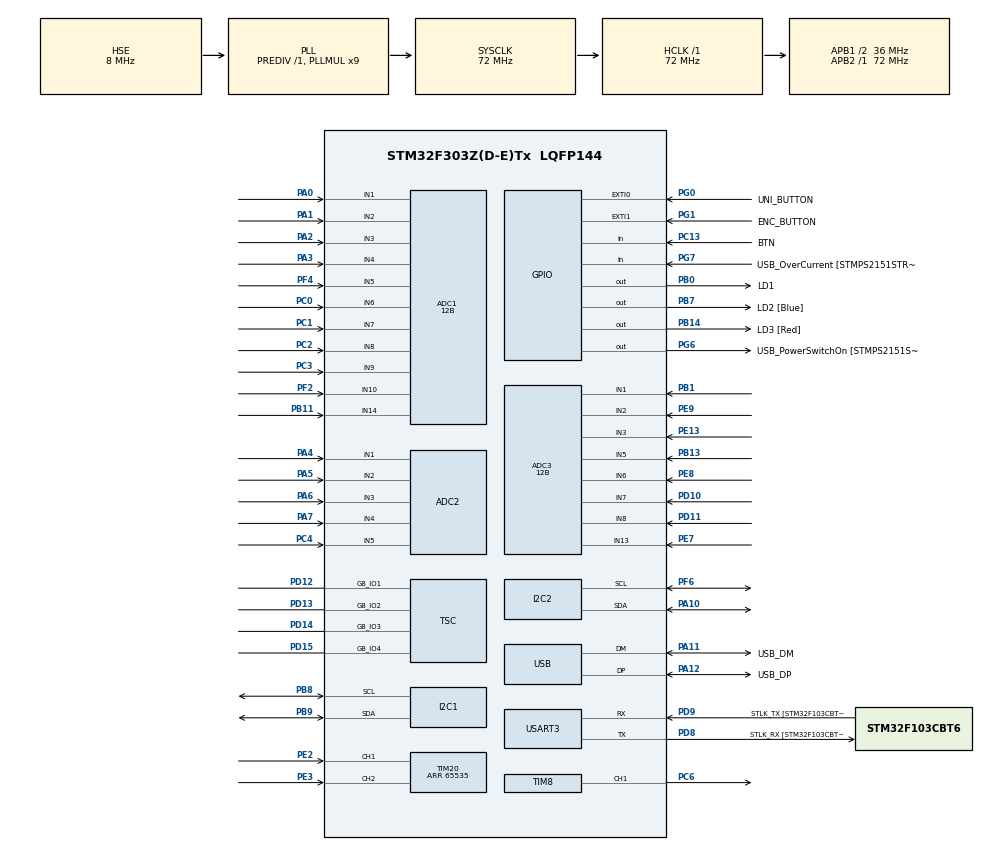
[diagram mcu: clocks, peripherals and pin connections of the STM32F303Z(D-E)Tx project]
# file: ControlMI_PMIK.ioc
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ADC1.Channel-10\#ChannelRegularConversion=ADC_CHANNEL_7
ADC1.Channel-11\#ChannelRegularConversion=ADC_CHANNEL_8
ADC1.Channel-12\#ChannelRegularConversion=ADC_CHANNEL_9
ADC1.Channel-13\#ChannelRegularConversion=ADC_CHANNEL_10
ADC1.Channel-14\#ChannelRegularConversion=ADC_CHANNEL_14
ADC1.Channel-4\#ChannelRegularConversion=ADC_CHANNEL_1
ADC1.Channel-5\#ChannelRegularConversion=ADC_CHANNEL_2
ADC1.Channel-6\#ChannelRegularConversion=ADC_CHANNEL_3
ADC1.Channel-7\#ChannelRegularConversion=ADC_CHANNEL_4
ADC1.Channel-8\#ChannelRegularConversion=ADC_CHANNEL_5
ADC1.Channel-9\#ChannelRegularConversion=ADC_CHANNEL_6
ADC1.ClockPrescaler=ADC_CLOCK_ASYNC_DIV1
ADC1.ContinuousConvMode=DISABLE
ADC1.DMAContinuousRequests=ENABLE
ADC1.DataAlign=ADC_DATAALIGN_RIGHT
ADC1.DiscontinuousConvMode=DISABLE
ADC1.EOCSelection=ADC_EOC_SINGLE_CONV
ADC1.EnableAnalogWatchDog1=false
ADC1.EnableAnalogWatchDog2=false
ADC1.EnableAnalogWatchDog3=false
ADC1.EnableInjectedConversion=ENABLE
ADC1.EnableRegularConversion=ENABLE
ADC1.ExternalTrigConv=ADC_SOFTWARE_START
ADC1.ExternalTrigConvEdge=ADC_EXTERNALTRIGCONVEDGE_NONE
ADC1.InjNumberOfConversion=0
ADC1.LowPowerAutoWait=DISABLE
ADC1.NbrOfConversion=11
ADC1.NbrOfConversionFlag=1
ADC1.Offset-10\#ChannelRegularConversion=0
ADC1.Offset-11\#ChannelRegularConversion=0
ADC1.Offset-12\#ChannelRegularConversion=0
ADC1.Offset-13\#ChannelRegularConversion=0
ADC1.Offset-14\#ChannelRegularConversion=0
ADC1.Offset-4\#ChannelRegularConversion=0
ADC1.Offset-5\#ChannelRegularConversion=0
ADC1.Offset-6\#ChannelRegularConversion=0
ADC1.Offset-7\#ChannelRegularConversion=0
ADC1.Offset-8\#ChannelRegularConversion=0
ADC1.Offset-9\#ChannelRegularConversion=0
ADC1.OffsetNumber-10\#ChannelRegularConversion=ADC_OFFSET_NONE
ADC1.OffsetNumber-11\#ChannelRegularConversion=ADC_OFFSET_NONE
ADC1.OffsetNumber-12\#ChannelRegularConversion=ADC_OFFSET_NONE
ADC1.OffsetNumber-13\#ChannelRegularConversion=ADC_OFFSET_NONE
ADC1.OffsetNumber-14\#ChannelRegularConversion=ADC_OFFSET_NONE
ADC1.OffsetNumber-4\#ChannelRegularConversion=ADC_OFFSET_NONE
ADC1.OffsetNumber-5\#ChannelRegularConversion=ADC_OFFSET_NONE
ADC1.OffsetNumber-6\#ChannelRegularConversion=ADC_OFFSET_NONE
ADC1.OffsetNumber-7\#ChannelRegularConversion=ADC_OFFSET_NONE
ADC1.OffsetNumber-8\#ChannelRegularConversion=ADC_OFFSET_NONE
ADC1.OffsetNumber-9\#ChannelRegularConversion=ADC_OFFSET_NONE
ADC1.Overrun=ADC_OVR_DATA_OVERWRITTEN
ADC1.Rank-10\#ChannelRegularConversion=7
ADC1.Rank-11\#ChannelRegularConversion=8
ADC1.Rank-12\#ChannelRegularConversion=9
ADC1.Rank-13\#ChannelRegularConversion=10
ADC1.Rank-14\#ChannelRegularConversion=11
ADC1.Rank-4\#ChannelRegularConversion=1
ADC1.Rank-5\#ChannelRegularConversion=2
ADC1.Rank-6\#ChannelRegularConversion=3
ADC1.Rank-7\#ChannelRegularConversion=4
ADC1.Rank-8\#ChannelRegularConversion=5
ADC1.Rank-9\#ChannelRegularConversion=6
ADC1.Resolution=ADC_RESOLUTION_12B
ADC1.SamplingTime-10\#ChannelRegularConversion=ADC_SAMPLETIME_601CYCLES_5
ADC1.SamplingTime-11\#ChannelRegularConversion=ADC_SAMPLETIME_601CYCLES_5
ADC1.SamplingTime-12\#ChannelRegularConversion=ADC_SAMPLETIME_601CYCLES_5
ADC1.SamplingTime-13\#ChannelRegularConversion=ADC_SAMPLETIME_601CYCLES_5
ADC1.SamplingTime-14\#ChannelRegularConversion=ADC_SAMPLETIME_601CYCLES_5
ADC1.SamplingTime-4\#ChannelRegularConversion=ADC_SAMPLETIME_601CYCLES_5
ADC1.SamplingTime-5\#ChannelRegularConversion=ADC_SAMPLETIME_601CYCLES_5
ADC1.SamplingTime-6\#ChannelRegularConversion=ADC_SAMPLETIME_601CYCLES_5
ADC1.SamplingTime-7\#ChannelRegularConversion=ADC_SAMPLETIME_601CYCLES_5
ADC1.SamplingTime-8\#ChannelRegularConversion=ADC_SAMPLETIME_601CYCLES_5
ADC1.SamplingTime-9\#ChannelRegularConversion=ADC_SAMPLETIME_601CYCLES_5
ADC1.ScanConvMode=ADC_SCAN_ENABLE
ADC1.master=1
ADC2.Channel-10\#ChannelRegularConversion=ADC_CHANNEL_5
ADC2.Channel-6\#ChannelRegularConversion=ADC_CHANNEL_1
ADC2.Channel-7\#ChannelRegularConversion=ADC_CHANNEL_2
ADC2.Channel-8\#ChannelRegularConversion=ADC_CHANNEL_3
ADC2.Channel-9\#ChannelRegularConversion=ADC_CHANNEL_4
ADC2.DMAContinuousRequests=ENABLE
ADC2.NbrOfConversion=5
ADC2.NbrOfConversionFlag=1
ADC2.Offset-10\#ChannelRegularConversion=0
ADC2.Offset-6\#ChannelRegularConversion=0
ADC2.Offset-7\#ChannelRegularConversion=0
ADC2.Offset-8\#ChannelRegularConversion=0
ADC2.Offset-9\#ChannelRegularConversion=0
ADC2.OffsetNumber-10\#ChannelRegularConversion=ADC_OFFSET_NONE
ADC2.OffsetNumber-6\#ChannelRegularConversion=ADC_OFFSET_NONE
ADC2.OffsetNumber-7\#ChannelRegularConversion=ADC_OFFSET_NONE
ADC2.OffsetNumber-8\#ChannelRegularConversion=ADC_OFFSET_NONE
ADC2.OffsetNumber-9\#ChannelRegularConversion=ADC_OFFSET_NONE
ADC2.Rank-10\#ChannelRegularConversion=5
ADC2.Rank-6\#ChannelRegularConversion=1
ADC2.Rank-7\#ChannelRegularConversion=2
ADC2.Rank-8\#ChannelRegularConversion=3
ADC2.Rank-9\#ChannelRegularConversion=4
ADC2.SamplingTime-10\#ChannelRegularConversion=ADC_SAMPLETIME_601CYCLES_5
ADC2.SamplingTime-6\#ChannelRegularConversion=ADC_SAMPLETIME_601CYCLES_5
ADC2.SamplingTime-7\#ChannelRegularConversion=ADC_SAMPLETIME_601CYCLES_5
ADC2.SamplingTime-8\#ChannelRegularConversion=ADC_SAMPLETIME_601CYCLES_5
ADC2.SamplingTime-9\#ChannelRegularConversion=ADC_SAMPLETIME_601CYCLES_5
ADC3.Channel-0\#ChannelRegularConversion=ADC_CHANNEL_1
ADC3.Channel-1\#ChannelRegularConversion=ADC_CHANNEL_2
ADC3.Channel-2\#ChannelRegularConversion=ADC_CHANNEL_3
ADC3.Channel-3\#ChannelRegularConversion=ADC_CHANNEL_5
ADC3.Channel-4\#ChannelRegularConversion=ADC_CHANNEL_6
ADC3.Channel-5\#ChannelRegularConversion=ADC_CHANNEL_7
ADC3.Channel-6\#ChannelRegularConversion=ADC_CHANNEL_8
ADC3.Channel-7\#ChannelRegularConversion=ADC_CHANNEL_13
ADC3.ClockPrescaler=ADC_CLOCK_ASYNC_DIV1
ADC3.ContinuousConvMode=DISABLE
ADC3.DMAContinuousRequests=ENABLE
ADC3.DataAlign=ADC_DATAALIGN_RIGHT
ADC3.DiscontinuousConvMode=DISABLE
ADC3.EOCSelection=ADC_EOC_SINGLE_CONV
ADC3.EnableAnalogWatchDog1=false
ADC3.EnableAnalogWatchDog2=false
ADC3.EnableAnalogWatchDog3=false
ADC3.EnableInjectedConversion=ENABLE
ADC3.EnableRegularConversion=ENABLE
ADC3.ExternalTrigConv=ADC_SOFTWARE_START
ADC3.ExternalTrigConvEdge=ADC_EXTERNALTRIGCONVEDGE_NONE
ADC3.InjNumberOfConversion=0
ADC3.LowPowerAutoWait=DISABLE
ADC3.NbrOfConversion=8
ADC3.NbrOfConversionFlag=1
ADC3.Offset-0\#ChannelRegularConversion=0
ADC3.Offset-1\#ChannelRegularConversion=0
ADC3.Offset-2\#ChannelRegularConversion=0
ADC3.Offset-3\#ChannelRegularConversion=0
ADC3.Offset-4\#ChannelRegularConversion=0
ADC3.Offset-5\#ChannelRegularConversion=0
ADC3.Offset-6\#ChannelRegularConversion=0
ADC3.Offset-7\#ChannelRegularConversion=0
ADC3.OffsetNumber-0\#ChannelRegularConversion=ADC_OFFSET_NONE
ADC3.OffsetNumber-1\#ChannelRegularConversion=ADC_OFFSET_NONE
ADC3.OffsetNumber-2\#ChannelRegularConversion=ADC_OFFSET_NONE
ADC3.OffsetNumber-3\#ChannelRegularConversion=ADC_OFFSET_NONE
ADC3.OffsetNumber-4\#ChannelRegularConversion=ADC_OFFSET_NONE
ADC3.OffsetNumber-5\#ChannelRegularConversion=ADC_OFFSET_NONE
ADC3.OffsetNumber-6\#ChannelRegularConversion=ADC_OFFSET_NONE
ADC3.OffsetNumber-7\#ChannelRegularConversion=ADC_OFFSET_NONE
ADC3.Overrun=ADC_OVR_DATA_OVERWRITTEN
ADC3.Rank-0\#ChannelRegularConversion=1
ADC3.Rank-1\#ChannelRegularConversion=2
ADC3.Rank-2\#ChannelRegularConversion=3
ADC3.Rank-3\#ChannelRegularConversion=4
ADC3.Rank-4\#ChannelRegularConversion=5
ADC3.Rank-5\#ChannelRegularConversion=6
ADC3.Rank-6\#ChannelRegularConversion=7
ADC3.Rank-7\#ChannelRegularConversion=8
ADC3.Resolution=ADC_RESOLUTION_12B
ADC3.SamplingTime-0\#ChannelRegularConversion=ADC_SAMPLETIME_601CYCLES_5
ADC3.SamplingTime-1\#ChannelRegularConversion=ADC_SAMPLETIME_601CYCLES_5
ADC3.SamplingTime-2\#ChannelRegularConversion=ADC_SAMPLETIME_601CYCLES_5
ADC3.SamplingTime-3\#ChannelRegularConversion=ADC_SAMPLETIME_601CYCLES_5
ADC3.SamplingTime-4\#ChannelRegularConversion=ADC_SAMPLETIME_601CYCLES_5
ADC3.SamplingTime-5\#ChannelRegularConversion=ADC_SAMPLETIME_601CYCLES_5
ADC3.SamplingTime-6\#ChannelRegularConversion=ADC_SAMPLETIME_601CYCLES_5
ADC3.SamplingTime-7\#ChannelRegularConversion=ADC_SAMPLETIME_601CYCLES_5
ADC3.ScanConvMode=ADC_SCAN_ENABLE
ADC3.master=1
Dma.ADC1.0.Direction=DMA_PERIPH_TO_MEMORY
Dma.ADC1.0.Instance=DMA1_Channel1
Dma.ADC1.0.MemDataAlignment=DMA_MDATAALIGN_HALFWORD
Dma.ADC1.0.MemInc=DMA_MINC_ENABLE
Dma.ADC1.0.Mode=DMA_CIRCULAR
Dma.ADC1.0.PeriphDataAlignment=DMA_PDATAALIGN_HALFWORD
Dma.ADC1.0.PeriphInc=DMA_PINC_DISABLE
Dma.ADC1.0.Priority=DMA_PRIORITY_LOW
Dma.ADC2.1.Direction=DMA_PERIPH_TO_MEMORY
Dma.ADC2.1.Instance=DMA2_Channel1
Dma.ADC2.1.MemDataAlignment=DMA_MDATAALIGN_HALFWORD
Dma.ADC2.1.MemInc=DMA_MINC_ENABLE
Dma.ADC2.1.Mode=DMA_CIRCULAR
Dma.ADC2.1.PeriphDataAlignment=DMA_PDATAALIGN_HALFWORD
Dma.ADC2.1.PeriphInc=DMA_PINC_DISABLE
Dma.ADC2.1.Priority=DMA_PRIORITY_LOW
Dma.ADC3.2.Direction=DMA_PERIPH_TO_MEMORY
Dma.ADC3.2.Instance=DMA2_Channel5
Dma.ADC3.2.MemDataAlignment=DMA_MDATAALIGN_HALFWORD
Dma.ADC3.2.MemInc=DMA_MINC_ENABLE
Dma.ADC3.2.Mode=DMA_CIRCULAR
Dma.ADC3.2.PeriphDataAlignment=DMA_PDATAALIGN_HALFWORD
Dma.ADC3.2.PeriphInc=DMA_PINC_DISABLE
Dma.ADC3.2.Priority=DMA_PRIORITY_LOW
Dma.I2C2_RX.4.Direction=DMA_PERIPH_TO_MEMORY
Dma.I2C2_RX.4.Instance=DMA1_Channel5
Dma.I2C2_RX.4.MemDataAlignment=DMA_MDATAALIGN_BYTE
Dma.I2C2_RX.4.MemInc=DMA_MINC_ENABLE
Dma.I2C2_RX.4.Mode=DMA_CIRCULAR
Dma.I2C2_RX.4.PeriphDataAlignment=DMA_PDATAALIGN_BYTE
Dma.I2C2_RX.4.PeriphInc=DMA_PINC_DISABLE
Dma.I2C2_RX.4.Priority=DMA_PRIORITY_LOW
Dma.Request0=ADC1
Dma.Request1=ADC2
Dma.Request2=ADC3
Dma.Request3=TIM8_CH1
Dma.Request4=I2C2_RX
Dma.TIM8_CH1.3.Direction=DMA_MEMORY_TO_PERIPH
Dma.TIM8_CH1.3.Instance=DMA2_Channel3
Dma.TIM8_CH1.3.MemDataAlignment=DMA_MDATAALIGN_HALFWORD
Dma.TIM8_CH1.3.MemInc=DMA_MINC_ENABLE
Dma.TIM8_CH1.3.Mode=DMA_CIRCULAR
Dma.TIM8_CH1.3.PeriphDataAlignment=DMA_PDATAALIGN_HALFWORD
Dma.TIM8_CH1.3.PeriphInc=DMA_PINC_DISABLE
Dma.TIM8_CH1.3.Priority=DMA_PRIORITY_VERY_HIGH
I2C2.Timing=0x2000090E
Mcu.Family=STM32F3
Mcu.Name=STM32F303Z(D-E)Tx
Mcu.Package=LQFP144
NVIC.ADC1_2_IRQn=true\:0\:0\:false\:false\:true
NVIC.ADC3_IRQn=true\:0\:0\:false\:false\:true
NVIC.DMA1_Channel1_IRQn=true\:0\:0\:false\:false\:true
NVIC.DMA1_Channel5_IRQn=true\:0\:0\:false\:false\:true
NVIC.DMA2_Channel1_IRQn=true\:0\:0\:false\:false\:true
NVIC.DMA2_Channel3_IRQn=true\:1\:0\:true\:false\:true
NVIC.DMA2_Channel5_IRQn=true\:0\:0\:false\:false\:true
NVIC.EXTI0_IRQn=true\:0\:0\:false\:false\:true
NVIC.EXTI1_IRQn=true\:0\:0\:false\:false\:true
NVIC.PriorityGroup=NVIC_PRIORITYGROUP_4
NVIC.TIM1_UP_TIM16_IRQn=true\:0\:0\:false\:false\:true
NVIC.TIM20_BRK_IRQn=true\:0\:0\:false\:false\:true
NVIC.TIM20_CC_IRQn=true\:0\:0\:false\:false\:true
NVIC.TIM20_TRG_COM_IRQn=true\:0\:0\:false\:false\:true
NVIC.TIM20_UP_IRQn=true\:0\:0\:false\:false\:true
NVIC.TIM6_DAC_IRQn=true\:0\:0\:false\:false\:true
NVIC.TIM7_IRQn=true\:0\:0\:false\:false\:true
NVIC.USB_LP_CAN_RX0_IRQn=true\:0\:0\:false\:false\:true
PA0.Mode=IN1-Single-Ended
PA0.Signal=ADC1_IN1
PA1.Mode=IN2-Single-Ended
PA1.Signal=ADC1_IN2
PA10.Mode=I2C
PA10.Signal=I2C2_SDA
PA11.GPIO_Label=USB_DM
PA11.Mode=Device
PA11.Signal=USB_DM
PA12.GPIO_Label=USB_DP
PA12.Mode=Device
PA12.Signal=USB_DP
PA13.GPIO_Label=TMS
PA13.Mode=Trace_Asynchronous_SW
PA13.Signal=SYS_JTMS-SWDIO
PA14.GPIO_Label=TCK
PA14.Mode=Trace_Asynchronous_SW
PA14.Signal=SYS_JTCK-SWCLK
PA2.Mode=IN3-Single-Ended
PA2.Signal=ADC1_IN3
PA3.Mode=IN4-Single-Ended
PA3.Signal=ADC1_IN4
PA4.Mode=IN1-Single-Ended
PA4.Signal=ADC2_IN1
PA5.Mode=IN2-Single-Ended
PA5.Signal=ADC2_IN2
PA6.Mode=IN3-Single-Ended
PA6.Signal=ADC2_IN3
PA7.Mode=IN4-Single-Ended
PA7.Signal=ADC2_IN4
PB0.GPIO_Label=LD1
PB0.Signal=GPIO_Output
PB1.Mode=IN1-Single-Ended
PB1.Signal=ADC3_IN1
PB11.Mode=IN14-Single-Ended
PB11.Signal=ADC1_IN14
PB13.Mode=IN5-Single-Ended
PB13.Signal=ADC3_IN5
PB14.GPIO_Label=LD3 [Red]
PB14.Signal=GPIO_Output
PB3.Mode=Trace_Asynchronous_SW
PB3.Signal=SYS_JTDO-TRACESWO
PB7.GPIO_Label=LD2 [Blue]
PB7.Signal=GPIO_Output
PB8.Mode=I2C
PB8.Signal=I2C1_SCL
PB9.Mode=I2C
PB9.Signal=I2C1_SDA
PC0.Signal=ADCx_IN6
PC1.Signal=ADCx_IN7
PC13.GPIO_Label=BTN
PC13.Signal=GPIO_Input
PC14-OSC32_IN.Mode=LSE-External-Oscillator
PC14-OSC32_IN.Signal=RCC_OSC32_IN
PC15-OSC32_OUT.Mode=LSE-External-Oscillator
PC15-OSC32_OUT.Signal=RCC_OSC32_OUT
PC2.Signal=ADCx_IN8
PC3.Signal=ADCx_IN9
PC4.Mode=IN5-Single-Ended
PC4.Signal=ADC2_IN5
PC6.GPIO_Speed=GPIO_SPEED_FREQ_HIGH
PC6.Signal=S_TIM8_CH1
PD10.Signal=ADCx_IN7P
PD11.Signal=ADCx_IN8P
PD12.Mode=G8_IO1-Channel
PD12.Signal=TSC_G8_IO1
PD13.Mode=G8_IO2-Channel
PD13.Signal=TSC_G8_IO2
PD14.Mode=G8_IO3-Channel
PD14.Signal=TSC_G8_IO3
PD15.Mode=G8_IO4-Sampling
PD15.Signal=TSC_G8_IO4
PD8.GPIO_Label=STLK_RX [STM32F103CBT6_PA3]
PD8.Mode=Asynchronous
PD8.Signal=USART3_TX
PD9.GPIO_Label=STLK_TX [STM32F103CBT6_PA2]
PD9.Mode=Asynchronous
PD9.Signal=USART3_RX
PE13.Mode=IN3-Single-Ended
PE13.Signal=ADC3_IN3
PE2.Mode=Encoder_Interface
PE2.Signal=TIM20_CH1
PE3.Signal=S_TIM20_CH2
PE7.Mode=IN13-Single-Ended
PE7.Signal=ADC3_IN13
PE8.Signal=ADCx_IN6P
PE9.Mode=IN2-Single-Ended
PE9.Signal=ADC3_IN2
PF0-OSC_IN.GPIO_Label=MCO [STM32F103CBT6_PA8]
PF0-OSC_IN.Mode=HSE-External-Clock-Source
PF0-OSC_IN.Signal=RCC_OSC_IN
PF2.Signal=ADCx_IN10
PF4.Mode=IN5-Single-Ended
PF4.Signal=ADC1_IN5
PF6.Mode=I2C
PF6.Signal=I2C2_SCL
PG0.GPIO_Label=UNI_BUTTON
PG0.Signal=GPXTI0
PG1.GPIO_Label=ENC_BUTTON
PG1.GPIO_ModeDefaultEXTI=GPIO_MODE_IT_FALLING
PG1.Signal=GPXTI1
PG6.GPIO_Label=USB_PowerSwitchOn [STMPS2151STR_EN]
PG6.Signal=GPIO_Output
PG7.GPIO_Label=USB_OverCurrent [STMPS2151STR_FAULT]
PG7.Signal=GPIO_Input
ProjectManager.HeapSize=0x200
ProjectManager.StackSize=0x400
ProjectManager.TargetToolchain=SW4STM32
RCC.AHBFreq_Value=72000000
RCC.APB1CLKDivider=RCC_HCLK_DIV2
RCC.APB1Freq_Value=36000000
RCC.APB1TimFreq_Value=72000000
RCC.APB2Freq_Value=72000000
RCC.APB2TimFreq_Value=72000000
RCC.CortexFreq_Value=72000000
RCC.HCLKFreq_Value=72000000
RCC.HSE_VALUE=8000000
RCC.HSI_VALUE=8000000
RCC.PLLMUL=RCC_PLL_MUL9
RCC.PRESCALERUSB=RCC_USBCLKSOURCE_PLL_DIV1_5
RCC.SYSCLKFreq_VALUE=72000000
RCC.SYSCLKSourceVirtual=RCC_SYSCLKSOURCE_PLLCLK
RCC.USBFreq_Value=48000000
SH.ADCx_IN10.0=ADC1_IN10,IN10-Single-Ended
SH.ADCx_IN6.0=ADC1_IN6,IN6-Single-Ended
SH.ADCx_IN6P.0=ADC3_IN6,IN6-Single-Ended
SH.ADCx_IN7.0=ADC1_IN7,IN7-Single-Ended
SH.ADCx_IN7P.0=ADC3_IN7,IN7-Single-Ended
SH.ADCx_IN8.0=ADC1_IN8,IN8-Single-Ended
SH.ADCx_IN8P.0=ADC3_IN8,IN8-Single-Ended
SH.ADCx_IN9.0=ADC1_IN9,IN9-Single-Ended
SH.S_TIM20_CH2.0=TIM20_CH2,Encoder_Interface
SH.S_TIM8_CH1.0=TIM8_CH1,PWM Generation1 CH1
TIM1.CounterMode=TIM_COUNTERMODE_DOWN
TIM1.Period=500
TIM1.Prescaler=1125
TIM20.EncoderMode=TIM_ENCODERMODE_TI12
TIM20.IC1Filter=15
TIM20.IC2Filter=15
TIM20.Period=65535
TIM6.Period=100
TIM6.Prescaler=7200
TIM7.Period=1000
TIM7.Prescaler=8
TIM8.Period=81
TIM8.Prescaler=8
TSC.ChannelIOs-G8_IO1=TSC_GROUP8_IO1
TSC.ChannelIOs-G8_IO2=TSC_GROUP8_IO2
TSC.ChannelIOs-G8_IO3=TSC_GROUP8_IO3
TSC.SamplingIOs-G8_IO4=TSC_GROUP8_IO4
USB_DEVICE.CONFIGURATION_STRING_AUDIO_FS=MIDI Config
USB_DEVICE.INTERFACE_STRING_AUDIO_FS=MIDI Interface
USB_DEVICE.PRODUCT_STRING_AUDIO_FS=ControlMI_PMIK
USB_DEVICE.USBD_HandleTypeDef=hUsbDeviceFS
USB_DEVICE.VirtualMode=Audio
VP_TIM1_VS_ClockSourceINT.Mode=Internal
VP_TIM6_VS_ClockSourceINT.Mode=Enable_Timer
VP_TIM7_VS_ClockSourceINT.Mode=Enable_Timer
VP_TIM7_VS_OPM.Mode=OPM_bit
VP_USB_DEVICE_VS_USB_DEVICE_AUDIO_FS.Mode=AUDIO_FS
board=NUCLEO-F303ZE

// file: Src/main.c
/**
  ******************************************************************************
  * File Name          : main.c
  * Description        : Main program body
  ******************************************************************************
  *
  * Copyright (c) 2017 STMicroelectronics International N.V.
  * All rights reserved.
  *
  * Redistribution and use in source and binary forms, with or without
  * modification, are permitted, provided that the following conditions are met:
  *
  * 1. Redistribution of source code must retain the above copyright notice,
  *    this list of conditions and the following disclaimer.
  * 2. Redistributions in binary form must reproduce the above copyright notice,
  *    this list of conditions and the following disclaimer in the documentation
  *    and/or other materials provided with the distribution.
  * 3. Neither the name of STMicroelectronics nor the names of other
  *    contributors to this software may be used to endorse or promote products
  *    derived from this software without specific written permission.
  * 4. This software, including modifications and/or derivative works of this
  *    software, must execute solely and exclusively on microcontroller or
  *    microprocessor devices manufactured by or for STMicroelectronics.
  * 5. Redistribution and use of this software other than as permitted under
  *    this license is void and will automatically terminate your rights under
  *    this license.
  *
  * THIS SOFTWARE IS PROVIDED BY STMICROELECTRONICS AND CONTRIBUTORS "AS IS"
  * AND ANY EXPRESS, IMPLIED OR STATUTORY WARRANTIES, INCLUDING, BUT NOT
  * LIMITED TO, THE IMPLIED WARRANTIES OF MERCHANTABILITY, FITNESS FOR A
  * PARTICULAR PURPOSE AND NON-INFRINGEMENT OF THIRD PARTY INTELLECTUAL PROPERTY
  * RIGHTS ARE DISCLAIMED TO THE FULLEST EXTENT PERMITTED BY LAW. IN NO EVENT
  * SHALL STMICROELECTRONICS OR CONTRIBUTORS BE LIABLE FOR ANY DIRECT, INDIRECT,
  * INCIDENTAL, SPECIAL, EXEMPLARY, OR CONSEQUENTIAL DAMAGES (INCLUDING, BUT NOT
  * LIMITED TO, PROCUREMENT OF SUBSTITUTE GOODS OR SERVICES; LOSS OF USE, DATA,
  * OR PROFITS; OR BUSINESS INTERRUPTION) HOWEVER CAUSED AND ON ANY THEORY OF
  * LIABILITY, WHETHER IN CONTRACT, STRICT LIABILITY, OR TORT (INCLUDING
  * NEGLIGENCE OR OTHERWISE) ARISING IN ANY WAY OUT OF THE USE OF THIS SOFTWARE,
  * EVEN IF ADVISED OF THE POSSIBILITY OF SUCH DAMAGE.
  *
  ******************************************************************************
  */
#include "main.h"
#include "stm32f3xx_hal.h"
#include "usb_device.h"

/* USER CODE BEGIN Includes */
#include <SSD1306.h>
#include <SWO.h>
#include <WS2812.h>
#include <usbd_midi_if.h>
#include <ADCHandler.h>
#include <MIDI_Consts.hpp>
#include <Menu.h>
#include <MPU6050.h>
#include <stm32f303xe.h>
#include "PadsStateHandling.h"
/* USER CODE END Includes */

ADC_HandleTypeDef hadc1;
ADC_HandleTypeDef hadc2;
ADC_HandleTypeDef hadc3;
DMA_HandleTypeDef hdma_adc1;
DMA_HandleTypeDef hdma_adc2;
DMA_HandleTypeDef hdma_adc3;

I2C_HandleTypeDef hi2c1;
I2C_HandleTypeDef hi2c2;
DMA_HandleTypeDef hdma_i2c2_rx;

TIM_HandleTypeDef htim1;
TIM_HandleTypeDef htim6;
TIM_HandleTypeDef htim7;
TIM_HandleTypeDef htim8;
TIM_HandleTypeDef htim20;
DMA_HandleTypeDef hdma_tim8_ch1;

TSC_HandleTypeDef htsc;

UART_HandleTypeDef huart3;

/* USER CODE BEGIN PV */
/* Private variables ---------------------------------------------------------*/
/* USER CODE END PV */

void SystemClock_Config(void);
void Error_Handler(void);
static void MX_GPIO_Init(void);
static void MX_DMA_Init(void);
static void MX_ADC1_Init(void);
static void MX_I2C1_Init(void);
static void MX_USART3_UART_Init(void);
static void MX_TIM20_Init(void);
static void MX_I2C2_Init(void);
static void MX_ADC2_Init(void);
static void MX_TSC_Init(void);
static void MX_ADC3_Init(void);
static void MX_TIM8_Init(void);
static void MX_TIM7_Init(void);
static void MX_TIM6_Init(void);
static void MX_TIM1_Init(void);

void HAL_TIM_MspPostInit(TIM_HandleTypeDef *htim);

/* USER CODE BEGIN PFP */
/* Private function prototypes -----------------------------------------------*/
/* USER CODE END PFP */

int main(void)
{

  /* USER CODE BEGIN 1 */
    SSD1306_Dev display;
  /* USER CODE END 1 */

  /* MCU Configuration----------------------------------------------------------*/

  /* Reset of all peripherals, Initializes the Flash interface and the Systick. */
  HAL_Init();

  /* Configure the system clock */
  SystemClock_Config();

  /* Initialize all configured peripherals */
  MX_GPIO_Init();
  MX_DMA_Init();
  MX_ADC1_Init();
  MX_I2C1_Init();
  MX_USART3_UART_Init();
  MX_USB_DEVICE_Init();
  MX_TIM20_Init();
  MX_I2C2_Init();
  MX_ADC2_Init();
  MX_TSC_Init();
  MX_ADC3_Init();
  MX_TIM8_Init();
  MX_TIM7_Init();
  MX_TIM6_Init();
  MX_TIM1_Init();

  /* USER CODE BEGIN 2 */
    HAL_GPIO_WritePin(USB_PowerSwitchOn_GPIO_Port, USB_PowerSwitchOn_Pin, GPIO_PIN_SET);

    TIM20->CNT = 32768;
    HAL_TIM_Encoder_Start_IT(&htim20, TIM_CHANNEL_ALL);
    WS2812_start(7);
    ADC_start();

    display.I2C = &hi2c1;
    display.address = 0x78;

    MPU6050_Init(&hi2c2);

    SSD1306_init(&display);
    SSD1306_enable(&display, 1);

    SWO_PrintString("System ready!\n");

    Menu_init(&display);
    Pads_Init();

    HAL_TIM_Base_Start_IT(&htim1);
  /* USER CODE END 2 */

  /* Infinite loop */
    while (1) {

  /* USER CODE BEGIN 3 */
        Pads_x = MPU6050_Accel_Get_X();
        Pads_y = MPU6050_Accel_Get_Y();
        HAL_Delay(100);
    }
  /* USER CODE END 3 */

}

/** System Clock Configuration
*/
void SystemClock_Config(void)
{

  RCC_OscInitTypeDef RCC_OscInitStruct;
  RCC_ClkInitTypeDef RCC_ClkInitStruct;
  RCC_PeriphCLKInitTypeDef PeriphClkInit;

    /**Initializes the CPU, AHB and APB busses clocks
    */
  RCC_OscInitStruct.OscillatorType = RCC_OSCILLATORTYPE_HSI|RCC_OSCILLATORTYPE_HSE;
  RCC_OscInitStruct.HSEState = RCC_HSE_BYPASS;
  RCC_OscInitStruct.HSIState = RCC_HSI_ON;
  RCC_OscInitStruct.HSICalibrationValue = 16;
  RCC_OscInitStruct.PLL.PLLState = RCC_PLL_ON;
  RCC_OscInitStruct.PLL.PLLSource = RCC_PLLSOURCE_HSE;
  RCC_OscInitStruct.PLL.PLLMUL = RCC_PLL_MUL9;
  RCC_OscInitStruct.PLL.PREDIV = RCC_PREDIV_DIV1;
  if (HAL_RCC_OscConfig(&RCC_OscInitStruct) != HAL_OK)
  {
    Error_Handler();
  }

    /**Initializes the CPU, AHB and APB busses clocks
    */
  RCC_ClkInitStruct.ClockType = RCC_CLOCKTYPE_HCLK|RCC_CLOCKTYPE_SYSCLK
                              |RCC_CLOCKTYPE_PCLK1|RCC_CLOCKTYPE_PCLK2;
  RCC_ClkInitStruct.SYSCLKSource = RCC_SYSCLKSOURCE_PLLCLK;
  RCC_ClkInitStruct.AHBCLKDivider = RCC_SYSCLK_DIV1;
  RCC_ClkInitStruct.APB1CLKDivider = RCC_HCLK_DIV2;
  RCC_ClkInitStruct.APB2CLKDivider = RCC_HCLK_DIV1;

  if (HAL_RCC_ClockConfig(&RCC_ClkInitStruct, FLASH_LATENCY_2) != HAL_OK)
  {
    Error_Handler();
  }

  PeriphClkInit.PeriphClockSelection = RCC_PERIPHCLK_USB|RCC_PERIPHCLK_USART3
                              |RCC_PERIPHCLK_I2C1|RCC_PERIPHCLK_I2C2
                              |RCC_PERIPHCLK_TIM1|RCC_PERIPHCLK_TIM8
                              |RCC_PERIPHCLK_ADC12|RCC_PERIPHCLK_ADC34
                              |RCC_PERIPHCLK_TIM20;
  PeriphClkInit.Usart3ClockSelection = RCC_USART3CLKSOURCE_PCLK1;
  PeriphClkInit.Adc12ClockSelection = RCC_ADC12PLLCLK_DIV1;
  PeriphClkInit.Adc34ClockSelection = RCC_ADC34PLLCLK_DIV1;
  PeriphClkInit.I2c1ClockSelection = RCC_I2C1CLKSOURCE_HSI;
  PeriphClkInit.I2c2ClockSelection = RCC_I2C2CLKSOURCE_HSI;
  PeriphClkInit.USBClockSelection = RCC_USBCLKSOURCE_PLL_DIV1_5;
  PeriphClkInit.Tim1ClockSelection = RCC_TIM1CLK_HCLK;
  PeriphClkInit.Tim8ClockSelection = RCC_TIM8CLK_HCLK;
  PeriphClkInit.Tim20ClockSelection = RCC_TIM20CLK_HCLK;
  if (HAL_RCCEx_PeriphCLKConfig(&PeriphClkInit) != HAL_OK)
  {
    Error_Handler();
  }

    /**Configure the Systick interrupt time
    */
  HAL_SYSTICK_Config(HAL_RCC_GetHCLKFreq()/1000);

    /**Configure the Systick
    */
  HAL_SYSTICK_CLKSourceConfig(SYSTICK_CLKSOURCE_HCLK);

  /* SysTick_IRQn interrupt configuration */
  HAL_NVIC_SetPriority(SysTick_IRQn, 0, 0);
}

/* ADC1 init function */
static void MX_ADC1_Init(void)
{

  ADC_MultiModeTypeDef multimode;
  ADC_ChannelConfTypeDef sConfig;

    /**Common config
    */
  hadc1.Instance = ADC1;
  hadc1.Init.ClockPrescaler = ADC_CLOCK_ASYNC_DIV1;
  hadc1.Init.Resolution = ADC_RESOLUTION_12B;
  hadc1.Init.ScanConvMode = ADC_SCAN_ENABLE;
  hadc1.Init.ContinuousConvMode = DISABLE;
  hadc1.Init.DiscontinuousConvMode = DISABLE;
  hadc1.Init.ExternalTrigConvEdge = ADC_EXTERNALTRIGCONVEDGE_NONE;
  hadc1.Init.ExternalTrigConv = ADC_SOFTWARE_START;
  hadc1.Init.DataAlign = ADC_DATAALIGN_RIGHT;
  hadc1.Init.NbrOfConversion = 11;
  hadc1.Init.DMAContinuousRequests = ENABLE;
  hadc1.Init.EOCSelection = ADC_EOC_SINGLE_CONV;
  hadc1.Init.LowPowerAutoWait = DISABLE;
  hadc1.Init.Overrun = ADC_OVR_DATA_OVERWRITTEN;
  if (HAL_ADC_Init(&hadc1) != HAL_OK)
  {
    Error_Handler();
  }

    /**Configure the ADC multi-mode
    */
  multimode.Mode = ADC_MODE_INDEPENDENT;
  if (HAL_ADCEx_MultiModeConfigChannel(&hadc1, &multimode) != HAL_OK)
  {
    Error_Handler();
  }

    /**Configure Regular Channel
    */
  sConfig.Channel = ADC_CHANNEL_1;
  sConfig.Rank = 1;
  sConfig.SingleDiff = ADC_SINGLE_ENDED;
  sConfig.SamplingTime = ADC_SAMPLETIME_601CYCLES_5;
  sConfig.OffsetNumber = ADC_OFFSET_NONE;
  sConfig.Offset = 0;
  if (HAL_ADC_ConfigChannel(&hadc1, &sConfig) != HAL_OK)
  {
    Error_Handler();
  }

    /**Configure Regular Channel
    */
  sConfig.Channel = ADC_CHANNEL_2;
  sConfig.Rank = 2;
  if (HAL_ADC_ConfigChannel(&hadc1, &sConfig) != HAL_OK)
  {
    Error_Handler();
  }

    /**Configure Regular Channel
    */
  sConfig.Channel = ADC_CHANNEL_3;
  sConfig.Rank = 3;
  if (HAL_ADC_ConfigChannel(&hadc1, &sConfig) != HAL_OK)
  {
    Error_Handler();
  }

    /**Configure Regular Channel
    */
  sConfig.Channel = ADC_CHANNEL_4;
  sConfig.Rank = 4;
  if (HAL_ADC_ConfigChannel(&hadc1, &sConfig) != HAL_OK)
  {
    Error_Handler();
  }

    /**Configure Regular Channel
    */
  sConfig.Channel = ADC_CHANNEL_5;
  sConfig.Rank = 5;
  if (HAL_ADC_ConfigChannel(&hadc1, &sConfig) != HAL_OK)
  {
    Error_Handler();
  }

    /**Configure Regular Channel
    */
  sConfig.Channel = ADC_CHANNEL_6;
  sConfig.Rank = 6;
  if (HAL_ADC_ConfigChannel(&hadc1, &sConfig) != HAL_OK)
  {
    Error_Handler();
  }

    /**Configure Regular Channel
    */
  sConfig.Channel = ADC_CHANNEL_7;
  sConfig.Rank = 7;
  if (HAL_ADC_ConfigChannel(&hadc1, &sConfig) != HAL_OK)
  {
    Error_Handler();
  }

    /**Configure Regular Channel
    */
  sConfig.Channel = ADC_CHANNEL_8;
  sConfig.Rank = 8;
  if (HAL_ADC_ConfigChannel(&hadc1, &sConfig) != HAL_OK)
  {
    Error_Handler();
  }

    /**Configure Regular Channel
    */
  sConfig.Channel = ADC_CHANNEL_9;
  sConfig.Rank = 9;
  if (HAL_ADC_ConfigChannel(&hadc1, &sConfig) != HAL_OK)
  {
    Error_Handler();
  }

    /**Configure Regular Channel
    */
  sConfig.Channel = ADC_CHANNEL_10;
  sConfig.Rank = 10;
  if (HAL_ADC_ConfigChannel(&hadc1, &sConfig) != HAL_OK)
  {
    Error_Handler();
  }

    /**Configure Regular Channel
    */
  sConfig.Channel = ADC_CHANNEL_14;
  sConfig.Rank = 11;
  if (HAL_ADC_ConfigChannel(&hadc1, &sConfig) != HAL_OK)
  {
    Error_Handler();
  }

}

/* ADC2 init function */
static void MX_ADC2_Init(void)
{

  ADC_ChannelConfTypeDef sConfig;

    /**Common config
    */
  hadc2.Instance = ADC2;
  hadc2.Init.ClockPrescaler = ADC_CLOCK_ASYNC_DIV1;
  hadc2.Init.Resolution = ADC_RESOLUTION_12B;
  hadc2.Init.ScanConvMode = ADC_SCAN_ENABLE;
  hadc2.Init.ContinuousConvMode = DISABLE;
  hadc2.Init.DiscontinuousConvMode = DISABLE;
  hadc2.Init.DataAlign = ADC_DATAALIGN_RIGHT;
  hadc2.Init.NbrOfConversion = 5;
  hadc2.Init.DMAContinuousRequests = ENABLE;
  hadc2.Init.EOCSelection = ADC_EOC_SINGLE_CONV;
  hadc2.Init.LowPowerAutoWait = DISABLE;
  hadc2.Init.Overrun = ADC_OVR_DATA_OVERWRITTEN;
  if (HAL_ADC_Init(&hadc2) != HAL_OK)
  {
    Error_Handler();
  }

    /**Configure Regular Channel
    */
  sConfig.Channel = ADC_CHANNEL_1;
  sConfig.Rank = 1;
  sConfig.SingleDiff = ADC_SINGLE_ENDED;
  sConfig.SamplingTime = ADC_SAMPLETIME_601CYCLES_5;
  sConfig.OffsetNumber = ADC_OFFSET_NONE;
  sConfig.Offset = 0;
  if (HAL_ADC_ConfigChannel(&hadc2, &sConfig) != HAL_OK)
  {
    Error_Handler();
  }

    /**Configure Regular Channel
    */
  sConfig.Channel = ADC_CHANNEL_2;
  sConfig.Rank = 2;
  if (HAL_ADC_ConfigChannel(&hadc2, &sConfig) != HAL_OK)
  {
    Error_Handler();
  }

    /**Configure Regular Channel
    */
  sConfig.Channel = ADC_CHANNEL_3;
  sConfig.Rank = 3;
  if (HAL_ADC_ConfigChannel(&hadc2, &sConfig) != HAL_OK)
  {
    Error_Handler();
  }

    /**Configure Regular Channel
    */
  sConfig.Channel = ADC_CHANNEL_4;
  sConfig.Rank = 4;
  if (HAL_ADC_ConfigChannel(&hadc2, &sConfig) != HAL_OK)
  {
    Error_Handler();
  }

    /**Configure Regular Channel
    */
  sConfig.Channel = ADC_CHANNEL_5;
  sConfig.Rank = 5;
  if (HAL_ADC_ConfigChannel(&hadc2, &sConfig) != HAL_OK)
  {
    Error_Handler();
  }

}

/* ADC3 init function */
static void MX_ADC3_Init(void)
{

  ADC_MultiModeTypeDef multimode;
  ADC_ChannelConfTypeDef sConfig;

    /**Common config
    */
  hadc3.Instance = ADC3;
  hadc3.Init.ClockPrescaler = ADC_CLOCK_ASYNC_DIV1;
  hadc3.Init.Resolution = ADC_RESOLUTION_12B;
  hadc3.Init.ScanConvMode = ADC_SCAN_ENABLE;
  hadc3.Init.ContinuousConvMode = DISABLE;
  hadc3.Init.DiscontinuousConvMode = DISABLE;
  hadc3.Init.ExternalTrigConvEdge = ADC_EXTERNALTRIGCONVEDGE_NONE;
  hadc3.Init.ExternalTrigConv = ADC_SOFTWARE_START;
  hadc3.Init.DataAlign = ADC_DATAALIGN_RIGHT;
  hadc3.Init.NbrOfConversion = 8;
  hadc3.Init.DMAContinuousRequests = ENABLE;
  hadc3.Init.EOCSelection = ADC_EOC_SINGLE_CONV;
  hadc3.Init.LowPowerAutoWait = DISABLE;
  hadc3.Init.Overrun = ADC_OVR_DATA_OVERWRITTEN;
  if (HAL_ADC_Init(&hadc3) != HAL_OK)
  {
    Error_Handler();
  }

    /**Configure the ADC multi-mode
    */
  multimode.DMAAccessMode = ADC_DMAACCESSMODE_DISABLED;
  multimode.TwoSamplingDelay = ADC_TWOSAMPLINGDELAY_1CYCLE;
  if (HAL_ADCEx_MultiModeConfigChannel(&hadc3, &multimode) != HAL_OK)
  {
    Error_Handler();
  }

    /**Configure Regular Channel
    */
  sConfig.Channel = ADC_CHANNEL_1;
  sConfig.Rank = 1;
  sConfig.SingleDiff = ADC_SINGLE_ENDED;
  sConfig.SamplingTime = ADC_SAMPLETIME_601CYCLES_5;
  sConfig.OffsetNumber = ADC_OFFSET_NONE;
  sConfig.Offset = 0;
  if (HAL_ADC_ConfigChannel(&hadc3, &sConfig) != HAL_OK)
  {
    Error_Handler();
  }

    /**Configure Regular Channel
    */
  sConfig.Channel = ADC_CHANNEL_2;
  sConfig.Rank = 2;
  if (HAL_ADC_ConfigChannel(&hadc3, &sConfig) != HAL_OK)
  {
    Error_Handler();
  }

    /**Configure Regular Channel
    */
  sConfig.Channel = ADC_CHANNEL_3;
  sConfig.Rank = 3;
  if (HAL_ADC_ConfigChannel(&hadc3, &sConfig) != HAL_OK)
  {
    Error_Handler();
  }

    /**Configure Regular Channel
    */
  sConfig.Channel = ADC_CHANNEL_5;
  sConfig.Rank = 4;
  if (HAL_ADC_ConfigChannel(&hadc3, &sConfig) != HAL_OK)
  {
    Error_Handler();
  }

    /**Configure Regular Channel
    */
  sConfig.Channel = ADC_CHANNEL_6;
  sConfig.Rank = 5;
  if (HAL_ADC_ConfigChannel(&hadc3, &sConfig) != HAL_OK)
  {
    Error_Handler();
  }

    /**Configure Regular Channel
    */
  sConfig.Channel = ADC_CHANNEL_7;
  sConfig.Rank = 6;
  if (HAL_ADC_ConfigChannel(&hadc3, &sConfig) != HAL_OK)
  {
    Error_Handler();
  }

    /**Configure Regular Channel
    */
  sConfig.Channel = ADC_CHANNEL_8;
  sConfig.Rank = 7;
  if (HAL_ADC_ConfigChannel(&hadc3, &sConfig) != HAL_OK)
  {
    Error_Handler();
  }

    /**Configure Regular Channel
    */
  sConfig.Channel = ADC_CHANNEL_13;
  sConfig.Rank = 8;
  if (HAL_ADC_ConfigChannel(&hadc3, &sConfig) != HAL_OK)
  {
    Error_Handler();
  }

}

/* I2C1 init function */
static void MX_I2C1_Init(void)
{

  hi2c1.Instance = I2C1;
  hi2c1.Init.Timing = 0x2000090E;
  hi2c1.Init.OwnAddress1 = 0;
  hi2c1.Init.AddressingMode = I2C_ADDRESSINGMODE_7BIT;
  hi2c1.Init.DualAddressMode = I2C_DUALADDRESS_DISABLE;
  hi2c1.Init.OwnAddress2 = 0;
  hi2c1.Init.OwnAddress2Masks = I2C_OA2_NOMASK;
  hi2c1.Init.GeneralCallMode = I2C_GENERALCALL_DISABLE;
  hi2c1.Init.NoStretchMode = I2C_NOSTRETCH_DISABLE;
  if (HAL_I2C_Init(&hi2c1) != HAL_OK)
  {
    Error_Handler();
  }

    /**Configure Analogue filter
    */
  if (HAL_I2CEx_ConfigAnalogFilter(&hi2c1, I2C_ANALOGFILTER_ENABLE) != HAL_OK)
  {
    Error_Handler();
  }

}

/* I2C2 init function */
static void MX_I2C2_Init(void)
{

  hi2c2.Instance = I2C2;
  hi2c2.Init.Timing = 0x2000090E;
  hi2c2.Init.OwnAddress1 = 0;
  hi2c2.Init.AddressingMode = I2C_ADDRESSINGMODE_7BIT;
  hi2c2.Init.DualAddressMode = I2C_DUALADDRESS_DISABLE;
  hi2c2.Init.OwnAddress2 = 0;
  hi2c2.Init.OwnAddress2Masks = I2C_OA2_NOMASK;
  hi2c2.Init.GeneralCallMode = I2C_GENERALCALL_DISABLE;
  hi2c2.Init.NoStretchMode = I2C_NOSTRETCH_DISABLE;
  if (HAL_I2C_Init(&hi2c2) != HAL_OK)
  {
    Error_Handler();
  }

    /**Configure Analogue filter
    */
  if (HAL_I2CEx_ConfigAnalogFilter(&hi2c2, I2C_ANALOGFILTER_ENABLE) != HAL_OK)
  {
    Error_Handler();
  }

}

/* TIM1 init function */
static void MX_TIM1_Init(void)
{

  TIM_ClockConfigTypeDef sClockSourceConfig;
  TIM_MasterConfigTypeDef sMasterConfig;

  htim1.Instance = TIM1;
  htim1.Init.Prescaler = 1125;
  htim1.Init.CounterMode = TIM_COUNTERMODE_DOWN;
  htim1.Init.Period = 500;
  htim1.Init.ClockDivision = TIM_CLOCKDIVISION_DIV1;
  htim1.Init.RepetitionCounter = 0;
  if (HAL_TIM_Base_Init(&htim1) != HAL_OK)
  {
    Error_Handler();
  }

  sClockSourceConfig.ClockSource = TIM_CLOCKSOURCE_INTERNAL;
  if (HAL_TIM_ConfigClockSource(&htim1, &sClockSourceConfig) != HAL_OK)
  {
    Error_Handler();
  }

  sMasterConfig.MasterOutputTrigger = TIM_TRGO_RESET;
  sMasterConfig.MasterOutputTrigger2 = TIM_TRGO2_RESET;
  sMasterConfig.MasterSlaveMode = TIM_MASTERSLAVEMODE_DISABLE;
  if (HAL_TIMEx_MasterConfigSynchronization(&htim1, &sMasterConfig) != HAL_OK)
  {
    Error_Handler();
  }

}

/* TIM6 init function */
static void MX_TIM6_Init(void)
{

  TIM_MasterConfigTypeDef sMasterConfig;

  htim6.Instance = TIM6;
  htim6.Init.Prescaler = 7200;
  htim6.Init.CounterMode = TIM_COUNTERMODE_UP;
  htim6.Init.Period = 100;
  if (HAL_TIM_Base_Init(&htim6) != HAL_OK)
  {
    Error_Handler();
  }

  sMasterConfig.MasterOutputTrigger = TIM_TRGO_RESET;
  sMasterConfig.MasterSlaveMode = TIM_MASTERSLAVEMODE_DISABLE;
  if (HAL_TIMEx_MasterConfigSynchronization(&htim6, &sMasterConfig) != HAL_OK)
  {
    Error_Handler();
  }

}

/* TIM7 init function */
static void MX_TIM7_Init(void)
{

  TIM_MasterConfigTypeDef sMasterConfig;

  htim7.Instance = TIM7;
  htim7.Init.Prescaler = 8;
  htim7.Init.CounterMode = TIM_COUNTERMODE_UP;
  htim7.Init.Period = 15--00;
  if (HAL_TIM_Base_Init(&htim7) != HAL_OK)
  {
    Error_Handler();
  }

  if (HAL_TIM_OnePulse_Init(&htim7, TIM_OPMODE_SINGLE) != HAL_OK)
  {
    Error_Handler();
  }

  sMasterConfig.MasterOutputTrigger = TIM_TRGO_RESET;
  sMasterConfig.MasterSlaveMode = TIM_MASTERSLAVEMODE_DISABLE;
  if (HAL_TIMEx_MasterConfigSynchronization(&htim7, &sMasterConfig) != HAL_OK)
  {
    Error_Handler();
  }

}

/* TIM8 init function */
static void MX_TIM8_Init(void)
{

  TIM_MasterConfigTypeDef sMasterConfig;
  TIM_OC_InitTypeDef sConfigOC;
  TIM_BreakDeadTimeConfigTypeDef sBreakDeadTimeConfig;

  htim8.Instance = TIM8;
  htim8.Init.Prescaler = 8;
  htim8.Init.CounterMode = TIM_COUNTERMODE_UP;
  htim8.Init.Period = 81;
  htim8.Init.ClockDivision = TIM_CLOCKDIVISION_DIV1;
  htim8.Init.RepetitionCounter = 0;
  if (HAL_TIM_PWM_Init(&htim8) != HAL_OK)
  {
    Error_Handler();
  }

  sMasterConfig.MasterOutputTrigger = TIM_TRGO_RESET;
  sMasterConfig.MasterOutputTrigger2 = TIM_TRGO2_RESET;
  sMasterConfig.MasterSlaveMode = TIM_MASTERSLAVEMODE_DISABLE;
  if (HAL_TIMEx_MasterConfigSynchronization(&htim8, &sMasterConfig) != HAL_OK)
  {
    Error_Handler();
  }

  sConfigOC.OCMode = TIM_OCMODE_PWM1;
  sConfigOC.Pulse = 0;
  sConfigOC.OCPolarity = TIM_OCPOLARITY_HIGH;
  sConfigOC.OCNPolarity = TIM_OCNPOLARITY_HIGH;
  sConfigOC.OCFastMode = TIM_OCFAST_DISABLE;
  sConfigOC.OCIdleState = TIM_OCIDLESTATE_RESET;
  sConfigOC.OCNIdleState = TIM_OCNIDLESTATE_RESET;
  if (HAL_TIM_PWM_ConfigChannel(&htim8, &sConfigOC, TIM_CHANNEL_1) != HAL_OK)
  {
    Error_Handler();
  }

  sBreakDeadTimeConfig.OffStateRunMode = TIM_OSSR_DISABLE;
  sBreakDeadTimeConfig.OffStateIDLEMode = TIM_OSSI_DISABLE;
  sBreakDeadTimeConfig.LockLevel = TIM_LOCKLEVEL_OFF;
  sBreakDeadTimeConfig.DeadTime = 0;
  sBreakDeadTimeConfig.BreakState = TIM_BREAK_DISABLE;
  sBreakDeadTimeConfig.BreakPolarity = TIM_BREAKPOLARITY_HIGH;
  sBreakDeadTimeConfig.BreakFilter = 0;
  sBreakDeadTimeConfig.Break2State = TIM_BREAK2_DISABLE;
  sBreakDeadTimeConfig.Break2Polarity = TIM_BREAK2POLARITY_HIGH;
  sBreakDeadTimeConfig.Break2Filter = 0;
  sBreakDeadTimeConfig.AutomaticOutput = TIM_AUTOMATICOUTPUT_DISABLE;
  if (HAL_TIMEx_ConfigBreakDeadTime(&htim8, &sBreakDeadTimeConfig) != HAL_OK)
  {
    Error_Handler();
  }

  HAL_TIM_MspPostInit(&htim8);

}

/* TIM20 init function */
static void MX_TIM20_Init(void)
{

  TIM_Encoder_InitTypeDef sConfig;
  TIM_MasterConfigTypeDef sMasterConfig;

  htim20.Instance = TIM20;
  htim20.Init.Prescaler = 0;
  htim20.Init.CounterMode = TIM_COUNTERMODE_UP;
  htim20.Init.Period = 65535;
  htim20.Init.ClockDivision = TIM_CLOCKDIVISION_DIV1;
  htim20.Init.RepetitionCounter = 0;
  sConfig.EncoderMode = TIM_ENCODERMODE_TI12;
  sConfig.IC1Polarity = TIM_ICPOLARITY_RISING;
  sConfig.IC1Selection = TIM_ICSELECTION_DIRECTTI;
  sConfig.IC1Prescaler = TIM_ICPSC_DIV1;
  sConfig.IC1Filter = 15;
  sConfig.IC2Polarity = TIM_ICPOLARITY_RISING;
  sConfig.IC2Selection = TIM_ICSELECTION_DIRECTTI;
  sConfig.IC2Prescaler = TIM_ICPSC_DIV1;
  sConfig.IC2Filter = 15;
  if (HAL_TIM_Encoder_Init(&htim20, &sConfig) != HAL_OK)
  {
    Error_Handler();
  }

  sMasterConfig.MasterOutputTrigger = TIM_TRGO_RESET;
  sMasterConfig.MasterOutputTrigger2 = TIM_TRGO2_RESET;
  sMasterConfig.MasterSlaveMode = TIM_MASTERSLAVEMODE_DISABLE;
  if (HAL_TIMEx_MasterConfigSynchronization(&htim20, &sMasterConfig) != HAL_OK)
  {
    Error_Handler();
  }

}

/* TSC init function */
static void MX_TSC_Init(void)
{

    /**Configure the TSC peripheral
    */
  htsc.Instance = TSC;
  htsc.Init.CTPulseHighLength = TSC_CTPH_2CYCLES;
  htsc.Init.CTPulseLowLength = TSC_CTPL_2CYCLES;
  htsc.Init.SpreadSpectrum = DISABLE;
  htsc.Init.SpreadSpectrumDeviation = 1;
  htsc.Init.SpreadSpectrumPrescaler = TSC_SS_PRESC_DIV1;
  htsc.Init.PulseGeneratorPrescaler = TSC_PG_PRESC_DIV64;
  htsc.Init.MaxCountValue = TSC_MCV_255;
  htsc.Init.IODefaultMode = TSC_IODEF_OUT_PP_LOW;
  htsc.Init.SynchroPinPolarity = TSC_SYNC_POLARITY_FALLING;
  htsc.Init.AcquisitionMode = TSC_ACQ_MODE_NORMAL;
  htsc.Init.ChannelIOs = TSC_GROUP8_IO1|TSC_GROUP8_IO2|TSC_GROUP8_IO3;
  htsc.Init.SamplingIOs = TSC_GROUP8_IO4;
  if (HAL_TSC_Init(&htsc) != HAL_OK)
  {
    Error_Handler();
  }

}

/* USART3 init function */
static void MX_USART3_UART_Init(void)
{

  huart3.Instance = USART3;
  huart3.Init.BaudRate = 38400;
  huart3.Init.WordLength = UART_WORDLENGTH_7B;
  huart3.Init.StopBits = UART_STOPBITS_1;
  huart3.Init.Parity = UART_PARITY_NONE;
  huart3.Init.Mode = UART_MODE_TX_RX;
  huart3.Init.HwFlowCtl = UART_HWCONTROL_NONE;
  huart3.Init.OverSampling = UART_OVERSAMPLING_16;
  huart3.Init.OneBitSampling = UART_ONE_BIT_SAMPLE_DISABLE;
  huart3.AdvancedInit.AdvFeatureInit = UART_ADVFEATURE_NO_INIT;
  if (HAL_UART_Init(&huart3) != HAL_OK)
  {
    Error_Handler();
  }

}

static void MX_DMA_Init(void)
{
  /* DMA controller clock enable */
  __HAL_RCC_DMA1_CLK_ENABLE();
  __HAL_RCC_DMA2_CLK_ENABLE();

  /* DMA interrupt init */
  /* DMA1_Channel1_IRQn interrupt configuration */
  HAL_NVIC_SetPriority(DMA1_Channel1_IRQn, 0, 0);
  HAL_NVIC_EnableIRQ(DMA1_Channel1_IRQn);
  /* DMA1_Channel5_IRQn interrupt configuration */
  HAL_NVIC_SetPriority(DMA1_Channel5_IRQn, 0, 0);
  HAL_NVIC_EnableIRQ(DMA1_Channel5_IRQn);
  /* DMA2_Channel1_IRQn interrupt configuration */
  HAL_NVIC_SetPriority(DMA2_Channel1_IRQn, 0, 0);
  HAL_NVIC_EnableIRQ(DMA2_Channel1_IRQn);
  /* DMA2_Channel3_IRQn interrupt configuration */
  HAL_NVIC_SetPriority(DMA2_Channel3_IRQn, 1, 0);
  HAL_NVIC_EnableIRQ(DMA2_Channel3_IRQn);
  /* DMA2_Channel5_IRQn interrupt configuration */
  HAL_NVIC_SetPriority(DMA2_Channel5_IRQn, 0, 0);
  HAL_NVIC_EnableIRQ(DMA2_Channel5_IRQn);

}

/** Configure pins as
        * Analog
        * Input
        * Output
        * EVENT_OUT
        * EXTI
*/
static void MX_GPIO_Init(void)
{

  GPIO_InitTypeDef GPIO_InitStruct;

  /* GPIO Ports Clock Enable */
  __HAL_RCC_GPIOE_CLK_ENABLE();
  __HAL_RCC_GPIOC_CLK_ENABLE();
  __HAL_RCC_GPIOF_CLK_ENABLE();
  __HAL_RCC_GPIOA_CLK_ENABLE();
  __HAL_RCC_GPIOB_CLK_ENABLE();
  __HAL_RCC_GPIOG_CLK_ENABLE();
  __HAL_RCC_GPIOD_CLK_ENABLE();

  /*Configure GPIO pin : BTN_Pin */
  GPIO_InitStruct.Pin = BTN_Pin;
  GPIO_InitStruct.Mode = GPIO_MODE_INPUT;
  GPIO_InitStruct.Pull = GPIO_NOPULL;
  HAL_GPIO_Init(BTN_GPIO_Port, &GPIO_InitStruct);

  /*Configure GPIO pins : LD1_Pin LD3_Pin LD2_Pin */
  GPIO_InitStruct.Pin = LD1_Pin|LD3_Pin|LD2_Pin;
  GPIO_InitStruct.Mode = GPIO_MODE_OUTPUT_PP;
  GPIO_InitStruct.Pull = GPIO_NOPULL;
  GPIO_InitStruct.Speed = GPIO_SPEED_FREQ_LOW;
  HAL_GPIO_Init(GPIOB, &GPIO_InitStruct);

  /*Configure GPIO pin : UNI_BUTTON_Pin */
  GPIO_InitStruct.Pin = UNI_BUTTON_Pin;
  GPIO_InitStruct.Mode = GPIO_MODE_IT_RISING;
  GPIO_InitStruct.Pull = GPIO_NOPULL;
  HAL_GPIO_Init(UNI_BUTTON_GPIO_Port, &GPIO_InitStruct);

  /*Configure GPIO pin : ENC_BUTTON_Pin */
  GPIO_InitStruct.Pin = ENC_BUTTON_Pin;
  GPIO_InitStruct.Mode = GPIO_MODE_IT_FALLING;
  GPIO_InitStruct.Pull = GPIO_NOPULL;
  HAL_GPIO_Init(ENC_BUTTON_GPIO_Port, &GPIO_InitStruct);

  /*Configure GPIO pin : USB_PowerSwitchOn_Pin */
  GPIO_InitStruct.Pin = USB_PowerSwitchOn_Pin;
  GPIO_InitStruct.Mode = GPIO_MODE_OUTPUT_PP;
  GPIO_InitStruct.Pull = GPIO_NOPULL;
  GPIO_InitStruct.Speed = GPIO_SPEED_FREQ_LOW;
  HAL_GPIO_Init(USB_PowerSwitchOn_GPIO_Port, &GPIO_InitStruct);

  /*Configure GPIO pin : USB_OverCurrent_Pin */
  GPIO_InitStruct.Pin = USB_OverCurrent_Pin;
  GPIO_InitStruct.Mode = GPIO_MODE_INPUT;
  GPIO_InitStruct.Pull = GPIO_NOPULL;
  HAL_GPIO_Init(USB_OverCurrent_GPIO_Port, &GPIO_InitStruct);

  /*Configure GPIO pin Output Level */
  HAL_GPIO_WritePin(GPIOB, LD1_Pin|LD3_Pin|LD2_Pin, GPIO_PIN_RESET);

  /*Configure GPIO pin Output Level */
  HAL_GPIO_WritePin(USB_PowerSwitchOn_GPIO_Port, USB_PowerSwitchOn_Pin, GPIO_PIN_RESET);

  /* EXTI interrupt init*/
  HAL_NVIC_SetPriority(EXTI0_IRQn, 0, 0);
  HAL_NVIC_EnableIRQ(EXTI0_IRQn);

  HAL_NVIC_SetPriority(EXTI1_IRQn, 0, 0);
  HAL_NVIC_EnableIRQ(EXTI1_IRQn);

}

void Error_Handler(void)
{
    while (1) {
    }
}

/************************ (C) COPYRIGHT STMicroelectronics *****END OF FILE****/
